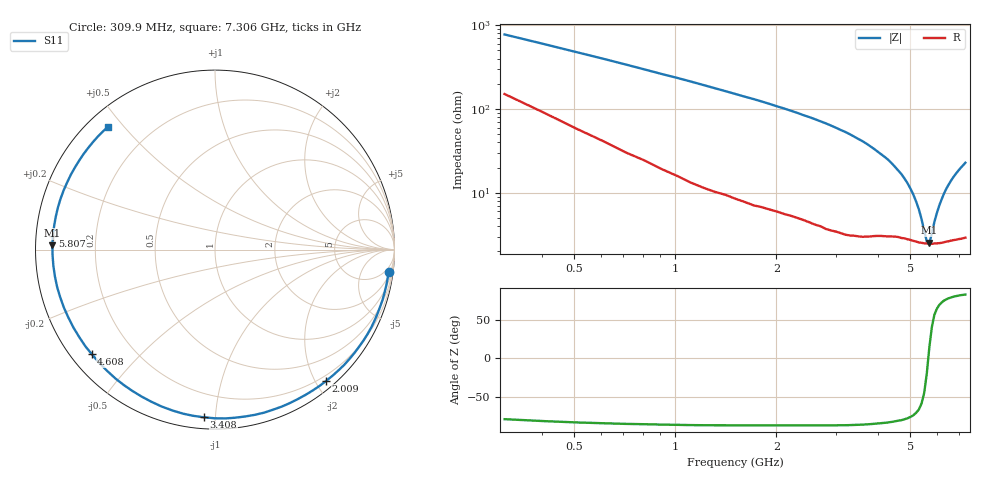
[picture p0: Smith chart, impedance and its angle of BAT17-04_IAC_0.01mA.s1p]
! Infineon Technologies  Discrete & RF Semiconductors
! BAT17-04
! IAC = 0.01 mA
! One-Port S-Parameters
# Hz  S  MA  R  50
!f  S11
!Hz  Mag  Ang
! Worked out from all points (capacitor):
!   71 points, 309.9 MHz to 7.306 GHz, reference 50 ohm
!   read as one part to ground: C = 662 fF near 309.9 MHz
!   lowest |Z| = 2.54 ohm at 5.707 GHz (marker M1)
!   series resonance near 5.665 GHz, so ESL is about 1.2 nH
!   S11 on the Smith chart (normalised r, x): 309.9 MHz: 3, -15; 2.009 GHz: 0.12, -2.15; 3.408 GHz: 0.06, -0.93; 4.608 GHz: 0.06, -0.36; 5.807 GHz: 0.05, +0.04; 7.306 GHz: 0.06, +0.45
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3.0985e8  0.9753 -7.2
7.0965e8  0.9746 -16.6
1.2094e9  0.9716 -28.9
1.70915e9  0.9648 -41.6
2.009e9  0.9585 -49.8
2.10895e9  0.9572 -52.5
2.4088e9  0.952 -61.3
2.6087e9  0.9504 -67.1
3.0085e9  0.9448 -79.8
3.2084e9  0.9423 -86.5
3.4083e9  0.9364 -93.8
3.6082e9  0.9313 -100.9
3.8081e9  0.9234 -108.7
4.008e9  0.9151 -116.7
4.30785e9  0.9074 -127.7
4.6077e9  0.9005 -139.8
4.70765e9  0.901 -143.3
5.0075e9  0.9005 -155.2
5.2074e9  0.9024 -162.9
5.4073e9  0.9043 -170.4
5.6072e9  0.9054 -178.0
5.70715e9  0.9064 178.5
5.8071e9  0.9063 175.1
5.90705e9  0.9058 171.4
6.2069e9  0.906 161.9
6.50675e9  0.9051 152.6
6.90655e9  0.9056 141.4
7.30635e9  0.9079 131.1
